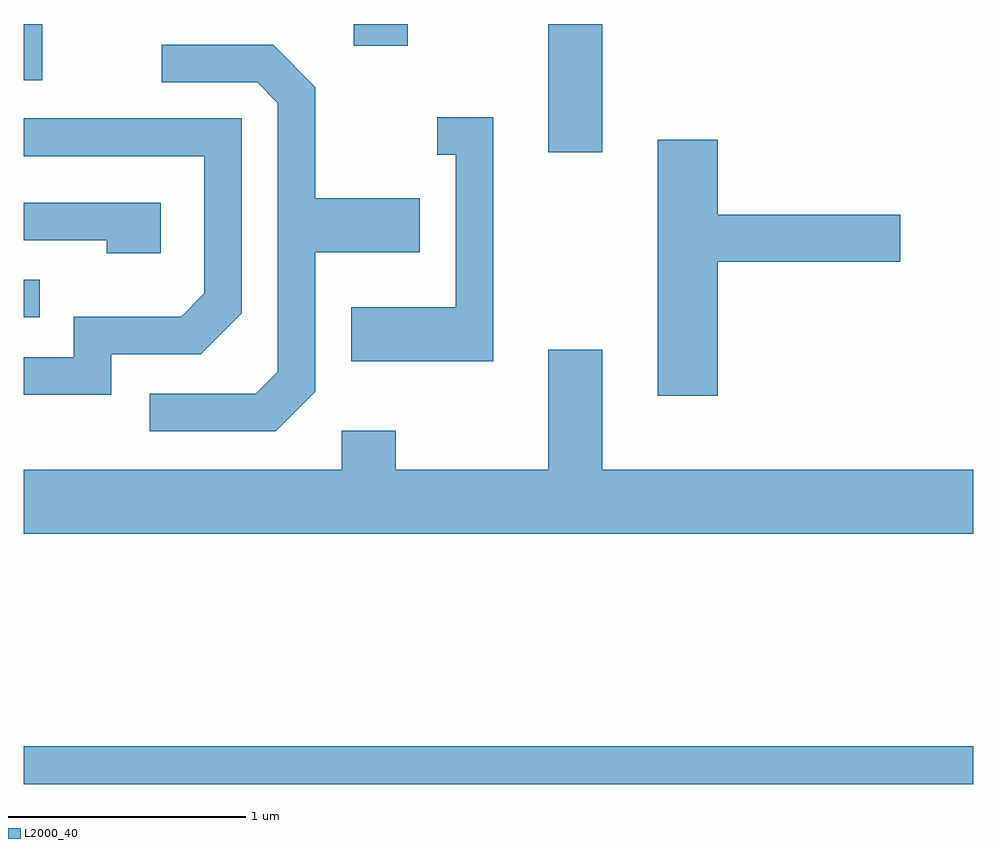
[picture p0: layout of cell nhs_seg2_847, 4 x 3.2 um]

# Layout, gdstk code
import gdstk
lib = gdstk.Library(unit=1e-6, precision=1e-09)
def R(c, l, rs):  # rectangles x0, y0, x1, y1
    for r in rs: c.add(gdstk.rectangle(r[:2], r[2:], *l))
def P(c, l, *ps):  # polygons
    for p in ps: c.add(gdstk.Polygon(p, *l))
L2000_40 = (2000, 40)

nhs_seg2_847 = lib.new_cell('nhs_seg2_847')
R(nhs_seg2_847, L2000_40, [(209.611,1040.601,213.611,1040.759), (209.611,1042.566,209.678,1042.724), (211.821,1043.261,212.049,1043.802), (209.611,1043.566,209.689,1043.802), (211.001,1043.711,211.229,1043.802)])
P(nhs_seg2_847, L2000_40, [(210.839,1042.254),(210.839,1042.841),(211.279,1042.841),(211.279,1043.069),(210.839,1043.069),(210.839,1043.536),(210.662,1043.714),(210.193,1043.714),(210.193,1043.556),(210.594,1043.556),(210.681,1043.469),(210.681,1042.337),(210.589,1042.244),(210.143,1042.244),(210.143,1042.086),(210.672,1042.086)],
  [(211.589,1043.409),(211.353,1043.409),(211.353,1043.251),(211.431,1043.251),(211.431,1042.609),(210.991,1042.609),(210.991,1042.381),(211.589,1042.381)],
  [(209.979,1042.411),(210.357,1042.411),(210.529,1042.584),(210.529,1043.404),(209.611,1043.404),(209.611,1043.246),(210.371,1043.246),(210.371,1042.667),(210.274,1042.569),(209.821,1042.569),(209.821,1042.399),(209.611,1042.399),(209.611,1042.241),(209.979,1042.241)],
  [(212.534,1042.801),(213.304,1042.801),(213.304,1042.999),(212.534,1042.999),(212.534,1043.314),(212.281,1043.314),(212.281,1042.236),(212.534,1042.236)],
  [(210.189,1043.049),(209.611,1043.049),(209.611,1042.891),(209.961,1042.891),(209.961,1042.836),(210.189,1042.836)],
  [(213.611,1041.924),(212.049,1041.924),(212.049,1042.429),(211.821,1042.429),(211.821,1041.924),(211.179,1041.924),(211.179,1042.089),(210.951,1042.089),(210.951,1041.924),(209.611,1041.924),(209.611,1041.656),(213.611,1041.656)])

lib.write_gds('nhs_seg2_847.gds')
